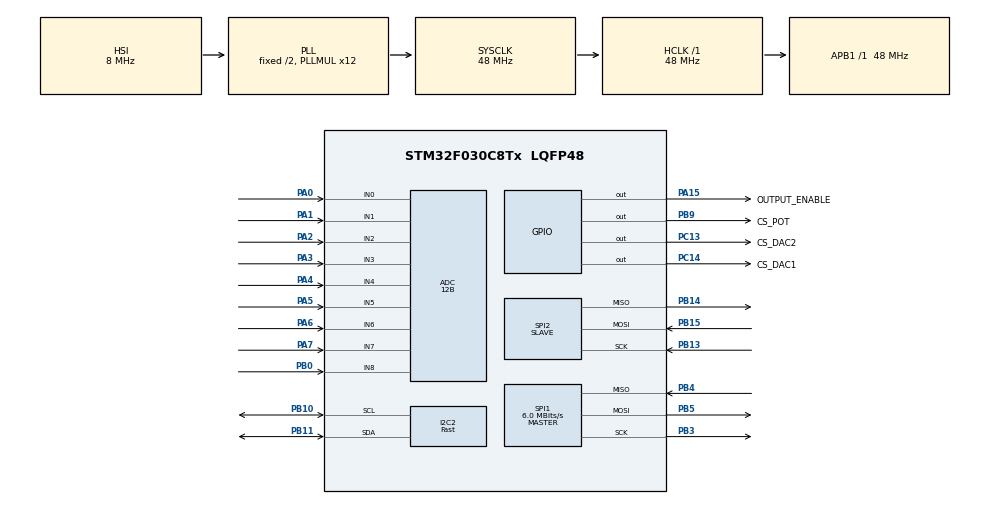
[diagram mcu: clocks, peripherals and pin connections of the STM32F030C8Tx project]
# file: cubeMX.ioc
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ADC.ClockPrescaler=ADC_CLOCK_ASYNC_DIV1
ADC.ContinuousConvMode=ENABLE
ADC.DMAContinuousRequests=ENABLE
ADC.DataAlign=ADC_DATAALIGN_RIGHT
ADC.DiscontinuousConvMode=DISABLE
ADC.EOCSelection=ADC_EOC_SEQ_CONV
ADC.EnableAnalogWatchDog=false
ADC.ExternalTrigConv=ADC_SOFTWARE_START
ADC.ExternalTrigConvEdge=ADC_EXTERNALTRIGCONVEDGE_NONE
ADC.LowPowerAutoPowerOff=DISABLE
ADC.LowPowerAutoWait=DISABLE
ADC.Overrun=ADC_OVR_DATA_PRESERVED
ADC.Resolution=ADC_RESOLUTION_12B
ADC.SamplingTime=ADC_SAMPLETIME_71CYCLES_5
ADC.ScanConvMode=ADC_SCAN_DIRECTION_FORWARD
Dma.ADC.2.Direction=DMA_PERIPH_TO_MEMORY
Dma.ADC.2.Instance=DMA1_Channel1
Dma.ADC.2.MemDataAlignment=DMA_MDATAALIGN_HALFWORD
Dma.ADC.2.MemInc=DMA_MINC_ENABLE
Dma.ADC.2.Mode=DMA_CIRCULAR
Dma.ADC.2.PeriphDataAlignment=DMA_PDATAALIGN_HALFWORD
Dma.ADC.2.PeriphInc=DMA_PINC_DISABLE
Dma.ADC.2.Priority=DMA_PRIORITY_LOW
Dma.Request0=SPI2_RX
Dma.Request1=SPI2_TX
Dma.Request2=ADC
Dma.SPI2_RX.0.Direction=DMA_PERIPH_TO_MEMORY
Dma.SPI2_RX.0.Instance=DMA1_Channel4
Dma.SPI2_RX.0.MemDataAlignment=DMA_MDATAALIGN_HALFWORD
Dma.SPI2_RX.0.MemInc=DMA_MINC_ENABLE
Dma.SPI2_RX.0.Mode=DMA_NORMAL
Dma.SPI2_RX.0.PeriphDataAlignment=DMA_PDATAALIGN_HALFWORD
Dma.SPI2_RX.0.PeriphInc=DMA_PINC_DISABLE
Dma.SPI2_RX.0.Priority=DMA_PRIORITY_LOW
Dma.SPI2_TX.1.Direction=DMA_MEMORY_TO_PERIPH
Dma.SPI2_TX.1.Instance=DMA1_Channel5
Dma.SPI2_TX.1.MemDataAlignment=DMA_MDATAALIGN_HALFWORD
Dma.SPI2_TX.1.MemInc=DMA_MINC_ENABLE
Dma.SPI2_TX.1.Mode=DMA_NORMAL
Dma.SPI2_TX.1.PeriphDataAlignment=DMA_PDATAALIGN_HALFWORD
Dma.SPI2_TX.1.PeriphInc=DMA_PINC_DISABLE
Dma.SPI2_TX.1.Priority=DMA_PRIORITY_LOW
I2C2.I2C_Speed_Mode=I2C_Fast
I2C2.Timing=0x2010091A
Mcu.Family=STM32F0
Mcu.Name=STM32F030C8Tx
Mcu.Package=LQFP48
NVIC.DMA1_Channel1_IRQn=true\:0\:0\:true\:false\:true\:true
NVIC.DMA1_Channel4_5_IRQn=true\:0\:0\:true\:false\:true\:true
PA0.Mode=IN0
PA0.Signal=ADC_IN0
PA1.Mode=IN1
PA1.Signal=ADC_IN1
PA15.GPIO_Label=OUTPUT_ENABLE
PA15.Signal=GPIO_Output
PA2.Mode=IN2
PA2.Signal=ADC_IN2
PA3.Mode=IN3
PA3.Signal=ADC_IN3
PA4.Mode=IN4
PA4.Signal=ADC_IN4
PA5.Mode=IN5
PA5.Signal=ADC_IN5
PA6.Mode=IN6
PA6.Signal=ADC_IN6
PA7.Mode=IN7
PA7.Signal=ADC_IN7
PB0.Mode=IN8
PB0.Signal=ADC_IN8
PB10.Mode=I2C
PB10.Signal=I2C2_SCL
PB11.Mode=I2C
PB11.Signal=I2C2_SDA
PB13.Mode=Full_Duplex_Slave
PB13.Signal=SPI2_SCK
PB14.Mode=Full_Duplex_Slave
PB14.Signal=SPI2_MISO
PB15.Mode=Full_Duplex_Slave
PB15.Signal=SPI2_MOSI
PB3.Mode=Full_Duplex_Master
PB3.Signal=SPI1_SCK
PB4.Mode=Full_Duplex_Master
PB4.Signal=SPI1_MISO
PB5.Mode=Full_Duplex_Master
PB5.Signal=SPI1_MOSI
PB9.GPIO_Label=CS_POT
PB9.Signal=GPIO_Output
PC13.GPIO_Label=CS_DAC2
PC13.Signal=GPIO_Output
PC14-OSC32_IN.GPIO_Label=CS_DAC1
PC14-OSC32_IN.Signal=GPIO_Output
ProjectManager.HeapSize=0x200
ProjectManager.StackSize=0x400
ProjectManager.TargetToolchain=SW4STM32
RCC.AHBFreq_Value=48000000
RCC.APB1Freq_Value=48000000
RCC.APB1TimFreq_Value=48000000
RCC.HCLKFreq_Value=48000000
RCC.PLLMUL=RCC_PLL_MUL12
RCC.SYSCLKFreq_VALUE=48000000
RCC.SYSCLKSource=RCC_SYSCLKSOURCE_PLLCLK
SPI1.BaudRatePrescaler=SPI_BAUDRATEPRESCALER_8
SPI1.CLKPhase=SPI_PHASE_2EDGE
SPI1.CalculateBaudRate=6.0 MBits/s
SPI1.DataSize=SPI_DATASIZE_8BIT
SPI1.Direction=SPI_DIRECTION_2LINES
SPI1.Mode=SPI_MODE_MASTER
SPI1.VirtualType=VM_MASTER
SPI2.DataSize=SPI_DATASIZE_16BIT
SPI2.Direction=SPI_DIRECTION_2LINES
SPI2.Mode=SPI_MODE_SLAVE
SPI2.VirtualType=VM_SLAVE
TIM6.AutoReloadPreload=TIM_AUTORELOAD_PRELOAD_ENABLE
TIM6.Period=65535
TIM6.Prescaler=11
VP_ADC_Vref_Input.Mode=IN-Vrefint
VP_TIM6_VS_ClockSourceINT.Mode=Enable_Timer
board=cubeMX

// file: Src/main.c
/**
  ******************************************************************************
  * File Name          : main.c
  * Description        : Main program body
  ******************************************************************************
  *
  * COPYRIGHT(c) 2017 STMicroelectronics
  *
  * Redistribution and use in source and binary forms, with or without modification,
  * are permitted provided that the following conditions are met:
  *   1. Redistributions of source code must retain the above copyright notice,
  *      this list of conditions and the following disclaimer.
  *   2. Redistributions in binary form must reproduce the above copyright notice,
  *      this list of conditions and the following disclaimer in the documentation
  *      and/or other materials provided with the distribution.
  *   3. Neither the name of STMicroelectronics nor the names of its contributors
  *      may be used to endorse or promote products derived from this software
  *      without specific prior written permission.
  *
  * THIS SOFTWARE IS PROVIDED BY THE COPYRIGHT HOLDERS AND CONTRIBUTORS "AS IS"
  * AND ANY EXPRESS OR IMPLIED WARRANTIES, INCLUDING, BUT NOT LIMITED TO, THE
  * IMPLIED WARRANTIES OF MERCHANTABILITY AND FITNESS FOR A PARTICULAR PURPOSE ARE
  * DISCLAIMED. IN NO EVENT SHALL THE COPYRIGHT HOLDER OR CONTRIBUTORS BE LIABLE
  * FOR ANY DIRECT, INDIRECT, INCIDENTAL, SPECIAL, EXEMPLARY, OR CONSEQUENTIAL
  * DAMAGES (INCLUDING, BUT NOT LIMITED TO, PROCUREMENT OF SUBSTITUTE GOODS OR
  * SERVICES; LOSS OF USE, DATA, OR PROFITS; OR BUSINESS INTERRUPTION) HOWEVER
  * CAUSED AND ON ANY THEORY OF LIABILITY, WHETHER IN CONTRACT, STRICT LIABILITY,
  * OR TORT (INCLUDING NEGLIGENCE OR OTHERWISE) ARISING IN ANY WAY OUT OF THE USE
  * OF THIS SOFTWARE, EVEN IF ADVISED OF THE POSSIBILITY OF SUCH DAMAGE.
  *
  ******************************************************************************
  */
#include "main.h"
#include "stm32f0xx_hal.h"
#include "adc.h"
#include "dma.h"
#include "i2c.h"
#include "spi.h"
#include "tim.h"
#include "gpio.h"

/* USER CODE BEGIN Includes */
#include "peripheral.h"
/* USER CODE END Includes */

/* USER CODE BEGIN PV */
/* Private variables ---------------------------------------------------------*/
#define SPI_BLOCK_SIZE        10
/* SPI block words */
#define SPI_COMMAND_WORD      0
#define SPI_DAC1_CH_A         1
#define SPI_DAC1_CH_B         2
#define SPI_DAC2_CH_A         3
#define SPI_DAC2_CH_B         4
#define SPI_DAC3              5
#define SPI_POT               6

/* SPI command word flags */
#define SPI_COMMAND_OUTPUT    0x01
#define SPI_COMMAND_DAC1_CH_A 0x02
#define SPI_COMMAND_DAC1_CH_B 0x04
#define SPI_COMMAND_DAC2_CH_A 0x08
#define SPI_COMMAND_DAC2_CH_B 0x10
#define SPI_COMMAND_DAC3      0x20
#define SPI_COMMAND_POT       0x40

uint32_t adcSum[SPI_BLOCK_SIZE];
uint16_t nValues;
uint16_t adcBuffer[SPI_BLOCK_SIZE];

uint16_t adcData[SPI_BLOCK_SIZE];
uint16_t spiCtrl[SPI_BLOCK_SIZE];
uint16_t lastCtrl[SPI_BLOCK_SIZE];
//uint16_t dummyData[10] = {1,2,3,4,5,6,7,8,9,10};

extern ADC_HandleTypeDef hadc;
extern SPI_HandleTypeDef hspi2;
extern TIM_HandleTypeDef htim6;
/* USER CODE END PV */

void SystemClock_Config(void);
void Error_Handler(void);

/* USER CODE BEGIN PFP */
/* Private function prototypes -----------------------------------------------*/

void transferComplete(void) {
	/* handle received commands */
	if (spiCtrl[SPI_COMMAND_WORD] & SPI_COMMAND_OUTPUT) {
		/* enable output relay */
		HAL_GPIO_WritePin(OUTPUT_ENABLE_GPIO_Port, OUTPUT_ENABLE_Pin,
				GPIO_PIN_SET);
	} else {
		/* disable output relay */
		HAL_GPIO_WritePin(OUTPUT_ENABLE_GPIO_Port, OUTPUT_ENABLE_Pin,
				GPIO_PIN_RESET);
	}

	/* Relay DAC data */
	if (spiCtrl[SPI_DAC1_CH_A] != lastCtrl[SPI_DAC1_CH_A]) {
		DAC8552_SetChannel(0, 0, spiCtrl[SPI_DAC1_CH_A]);
	}
	if (spiCtrl[SPI_DAC1_CH_B] != lastCtrl[SPI_DAC1_CH_B]) {
		DAC8552_SetChannel(0, 1, spiCtrl[SPI_DAC1_CH_B]);
	}
	if (spiCtrl[SPI_DAC2_CH_A] != lastCtrl[SPI_DAC2_CH_A]) {
		DAC8552_SetChannel(1, 0, spiCtrl[SPI_DAC2_CH_A]);
	}
	if (spiCtrl[SPI_DAC2_CH_B] != lastCtrl[SPI_DAC2_CH_B]) {
		DAC8552_SetChannel(1, 1, spiCtrl[SPI_DAC2_CH_B]);
	}
	if (spiCtrl[SPI_DAC3] != lastCtrl[SPI_DAC3]) {
		MCP47X6_SetChannel(spiCtrl[SPI_DAC3]);
	}
	/* Relay digital potentiometer data */
	if (spiCtrl[SPI_POT] != lastCtrl[SPI_POT]) {
		MCP41HVX1_SetWiper(spiCtrl[SPI_POT]);
	}
	uint8_t i;
	for (i = 0; i < SPI_BLOCK_SIZE; i++) {
		/* Store control words for detection of changes */
		lastCtrl[i] = spiCtrl[i];
		/* load ADC values into SPI data for next transmission */
		adcData[i] = adcSum[i] / nValues;
		adcSum[i] = 0;
	}
	nValues = 0;
}

void startSPITransfer(void) {
	/* synchronize with master, this is necessary because NSS line is not available */
//	HAL_SPI_Abort(&hspi2);
	/* wait for idle clock, SCL will never be low for more than 2us if transmission is active */
	uint16_t idleSince = TIM6->CNT;
	do {
		if (GPIOB->IDR & GPIO_PIN_13) {
			__HAL_RCC_SPI2_FORCE_RESET();
			__HAL_RCC_SPI2_RELEASE_RESET();
			MX_SPI2_Init();
			/* clock is high, reset timeout */
			idleSince = TIM6->CNT;
		}
	} while (TIM6->CNT - idleSince < 8);
	/* now the SPI is between transmissions and we start at the beginning of a frame */
	HAL_SPI_TransmitReceive_DMA(&hspi2, (uint8_t*) adcData, (uint8_t*) spiCtrl,
			SPI_BLOCK_SIZE);
}
/* USER CODE END PFP */

/* USER CODE BEGIN 0 */

void HAL_SPI_TxRxCpltCallback(SPI_HandleTypeDef *hspi) {
	/* apply transferred control commands */
	transferComplete();
	/* restart SPI for the next transfer */
	startSPITransfer();
}

void HAL_ADC_ConvCpltCallback(ADC_HandleTypeDef* hadc) {
	/* Copy ADC values */
	adcSum[0] += adcBuffer[0];
	adcSum[1] += adcBuffer[1];
	adcSum[2] += adcBuffer[2];
	adcSum[3] += adcBuffer[3];
	adcSum[4] += adcBuffer[4];
	adcSum[5] += adcBuffer[5];
	adcSum[6] += adcBuffer[6];
	adcSum[7] += adcBuffer[7];
	adcSum[8] += adcBuffer[8];
	adcSum[9] += adcBuffer[9];
	/* one more sample acquired */
	nValues++;
}
/* USER CODE END 0 */

int main(void)
{

  /* MCU Configuration----------------------------------------------------------*/

  /* Reset of all peripherals, Initializes the Flash interface and the Systick. */
  HAL_Init();

  /* Configure the system clock */
  SystemClock_Config();

  /* Initialize all configured peripherals */
  MX_GPIO_Init();
  MX_DMA_Init();
  MX_ADC_Init();
  MX_I2C2_Init();
  MX_SPI1_Init();
  MX_SPI2_Init();
  MX_TIM6_Init();

  /* USER CODE BEGIN 2 */
  HAL_ADCEx_Calibration_Start(&hadc);

  HAL_TIM_Base_Start(&htim6);
  /* Initialize external DACs */
  Peripheral_Init();
  /* Start ADC sampling */
  HAL_ADC_Start_DMA(&hadc, (uint32_t*)adcBuffer, SPI_BLOCK_SIZE);

  startSPITransfer();

  /* USER CODE END 2 */

  /* Infinite loop */
  /* USER CODE BEGIN WHILE */
  HAL_SuspendTick();
  while (1) {
	  HAL_PWR_EnterSLEEPMode(PWR_MAINREGULATOR_ON, PWR_SLEEPENTRY_WFI);
  /* USER CODE END WHILE */

  }

}

/** System Clock Configuration
*/
void SystemClock_Config(void)
{

  RCC_OscInitTypeDef RCC_OscInitStruct;
  RCC_ClkInitTypeDef RCC_ClkInitStruct;

    /**Initializes the CPU, AHB and APB busses clocks
    */
  RCC_OscInitStruct.OscillatorType = RCC_OSCILLATORTYPE_HSI|RCC_OSCILLATORTYPE_HSI14;
  RCC_OscInitStruct.HSIState = RCC_HSI_ON;
  RCC_OscInitStruct.HSI14State = RCC_HSI14_ON;
  RCC_OscInitStruct.HSICalibrationValue = 16;
  RCC_OscInitStruct.HSI14CalibrationValue = 16;
  RCC_OscInitStruct.PLL.PLLState = RCC_PLL_ON;
  RCC_OscInitStruct.PLL.PLLSource = RCC_PLLSOURCE_HSI;
  RCC_OscInitStruct.PLL.PLLMUL = RCC_PLL_MUL12;
  RCC_OscInitStruct.PLL.PREDIV = RCC_PREDIV_DIV1;
  if (HAL_RCC_OscConfig(&RCC_OscInitStruct) != HAL_OK)
  {
    Error_Handler();
  }

    /**Initializes the CPU, AHB and APB busses clocks
    */
  RCC_ClkInitStruct.ClockType = RCC_CLOCKTYPE_HCLK|RCC_CLOCKTYPE_SYSCLK
                              |RCC_CLOCKTYPE_PCLK1;
  RCC_ClkInitStruct.SYSCLKSource = RCC_SYSCLKSOURCE_PLLCLK;
  RCC_ClkInitStruct.AHBCLKDivider = RCC_SYSCLK_DIV1;
  RCC_ClkInitStruct.APB1CLKDivider = RCC_HCLK_DIV1;

  if (HAL_RCC_ClockConfig(&RCC_ClkInitStruct, FLASH_LATENCY_1) != HAL_OK)
  {
    Error_Handler();
  }

    /**Configure the Systick interrupt time
    */
  HAL_SYSTICK_Config(HAL_RCC_GetHCLKFreq()/1000);

    /**Configure the Systick
    */
  HAL_SYSTICK_CLKSourceConfig(SYSTICK_CLKSOURCE_HCLK);

  /* SysTick_IRQn interrupt configuration */
  HAL_NVIC_SetPriority(SysTick_IRQn, 0, 0);
}

void Error_Handler(void)
{
  while(1)
  {
  }
}

/************************ (C) COPYRIGHT STMicroelectronics *****END OF FILE****/
